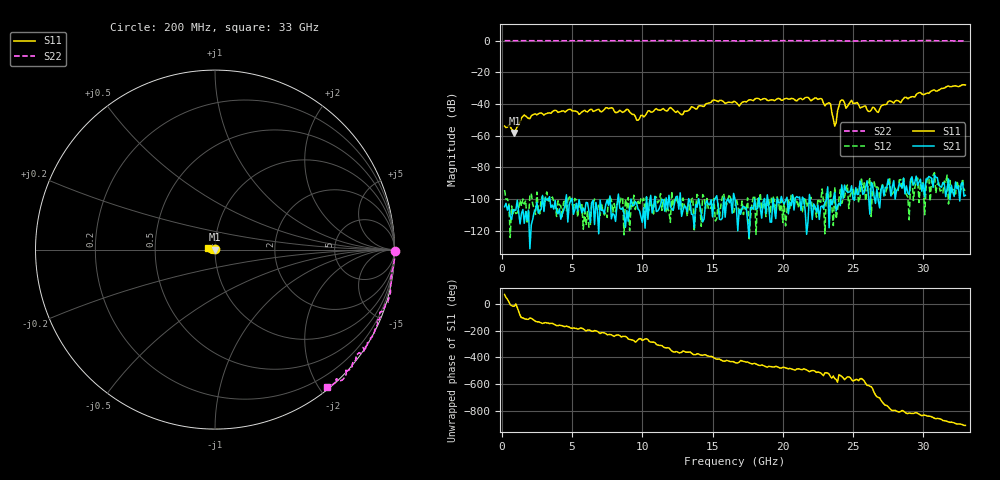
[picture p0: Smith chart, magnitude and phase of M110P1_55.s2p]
# GHZ S RI R 50
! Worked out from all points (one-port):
!   329 points, 200 MHz to 33 GHz, reference 50 ohm
!   lowest |S11| = -58.4 dB at 900 MHz (marker M1), VSWR 1.00, Z = 50.1 - j0.0363 ohm
!   |S11| at or under -10 dB: start of sweep to end of sweep
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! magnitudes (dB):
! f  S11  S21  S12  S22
! 200 MHz  -54.0  -105.0  -94.4  0.0
! 900 MHz  -58.4  -107.5  -106.7  0.0
! 1.6 GHz  -47.0  -115.4  -103.3  0.0
! 5.7 GHz  -45.1  -108.9  -103.6  -0.1
! 8.9 GHz  -43.3  -107.3  -105.7  0.0
! 9.7 GHz  -50.3  -106.5  -101.5  0.0
! 11.2 GHz  -43.9  -106.2  -101.1  0.0
! 12 GHz  -42.2  -104.9  -114.8  0.1
! 12.8 GHz  -46.9  -111.0  -108.5  0.0
! 15 GHz  -37.7  -111.4  -102.7  -0.1
! 16.6 GHz  -38.5  -100.3  -105.0  -0.1
! 16.9 GHz  -41.3  -106.5  -110.0  -0.1
! 22.1 GHz  -37.4  -113.0  -105.8  0.0
! 23.4 GHz  -40.0  -100.4  -94.6  -0.1
! 23.7 GHz  -54.0  -95.8  -92.7  0.0
! 23.9 GHz  -44.4  -104.7  -106.9  0.0
! 24.2 GHz  -37.6  -91.2  -102.8  -0.1
! 24.5 GHz  -42.7  -94.7  -93.1  -0.1
! 24.9 GHz  -37.7  -91.7  -95.9  -0.1
! 26.8 GHz  -45.3  -101.1  -93.1  0.0
! 27.6 GHz  -38.1  -90.6  -86.5  0.0
! 33 GHz  -28.0  -97.7  -94.4  -0.1
